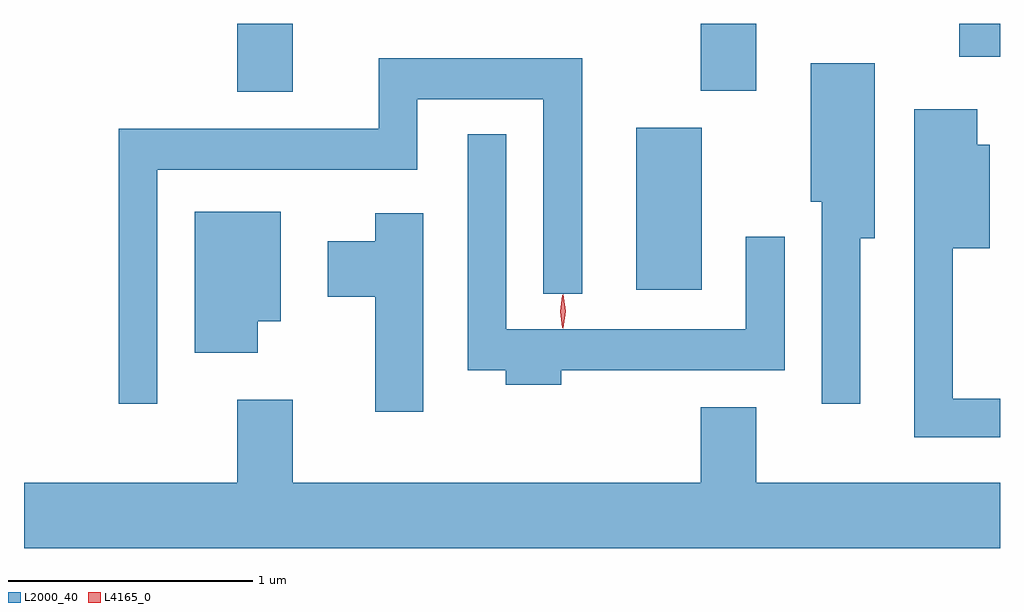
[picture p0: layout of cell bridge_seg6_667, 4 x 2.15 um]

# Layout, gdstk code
import gdstk
lib = gdstk.Library(unit=1e-6, precision=1e-09)
def R(c, l, rs):  # rectangles x0, y0, x1, y1
    for r in rs: c.add(gdstk.rectangle(r[:2], r[2:], *l))
def P(c, l, *ps):  # polygons
    for p in ps: c.add(gdstk.Polygon(p, *l))
L2000_40 = (2000, 40)
L4165_0 = (4165, 0)

bridge_seg6_667 = lib.new_cell('bridge_seg6_667')
R(bridge_seg6_667, L2000_40, [(403.216,1553.316,403.484,1553.979), (401.581,1554.126,401.809,1554.405), (403.481,1554.131,403.709,1554.405), (404.541,1554.271,404.707,1554.405)])
P(bridge_seg6_667, L2000_40, [(401.254,1553.806),(402.319,1553.806),(402.319,1554.096),(402.836,1554.096),(402.836,1553.298),(402.994,1553.298),(402.994,1554.264),(402.161,1554.264),(402.161,1553.974),(401.096,1553.974),(401.096,1552.848),(401.254,1552.848)],
  [(404.134,1553.526),(404.194,1553.526),(404.194,1554.244),(403.931,1554.244),(403.931,1553.676),(403.976,1553.676),(403.976,1552.848),(404.134,1552.848)],
  [(404.707,1552.869),(404.514,1552.869),(404.514,1553.486),(404.664,1553.486),(404.664,1553.909),(404.614,1553.909),(404.614,1554.054),(404.356,1554.054),(404.356,1552.711),(404.707,1552.711)],
  [(402.909,1552.986),(403.824,1552.986),(403.824,1553.533),(403.666,1553.533),(403.666,1553.154),(402.684,1553.154),(402.684,1553.953),(402.526,1553.953),(402.526,1552.986),(402.681,1552.986),(402.681,1552.926),(402.909,1552.926)],
  [(401.664,1553.186),(401.759,1553.186),(401.759,1553.634),(401.406,1553.634),(401.406,1553.056),(401.664,1553.056)],
  [(402.344,1553.629),(402.146,1553.629),(402.146,1553.514),(401.951,1553.514),(401.951,1553.286),(402.146,1553.286),(402.146,1552.816),(402.344,1552.816)],
  [(404.707,1552.524),(403.709,1552.524),(403.709,1552.834),(403.481,1552.834),(403.481,1552.524),(401.809,1552.524),(401.809,1552.864),(401.581,1552.864),(401.581,1552.524),(400.707,1552.524),(400.707,1552.256),(404.707,1552.256)])
P(bridge_seg6_667, L4165_0, [(402.914,1553.159),(402.913,1553.16),(402.904,1553.226),(402.913,1553.292),(402.914,1553.293),(402.914,1553.292),(402.924,1553.226),(402.914,1553.16)],
  [(402.917,1553.157),(402.908,1553.226),(402.917,1553.296),(402.918,1553.296),(402.918,1553.296),(402.928,1553.226),(402.918,1553.157),(402.918,1553.157)])

lib.write_gds('bridge_seg6_667.gds')
